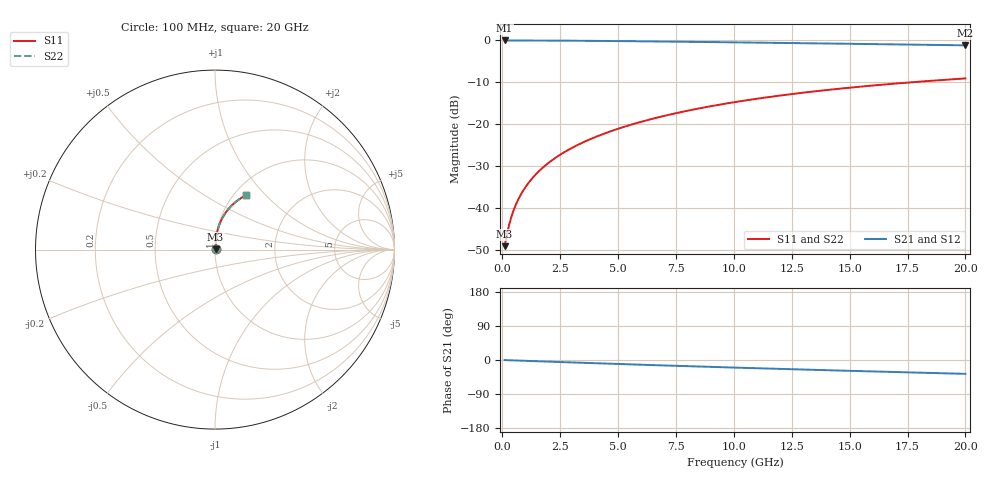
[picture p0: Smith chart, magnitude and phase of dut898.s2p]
! Touchstone file exported from HFSS 2024.1.0
!  File:  C:/UserFiles/LocalFiles/RDL_TSV_Batchsim/temp_RDL_top_898_1779857459.aedt
!  Generated:  12:53:13 PM May 27, 2026
!  Design:  RDL_top
!  Project:  temp_RDL_top_898_1779857459
!  Setup:  Setup1
!  Solution:  Sweep
! Variables:
!  dtsv = 10.80580581um
!  hbump = 3um
!  htsv = 94.28um
!  ldown = 100um
!  lrdl = 492.28um
!  p = 40
!  p1 = 50.59um
!  rhole = 1um
!  t = 450um
!  tdown = 3.915915916um
!  trdl = 3.03um
!  wdown = 15.38538539um
!  wrdl = 21.31um
# GHz S MA R 50.000000
! Terminal data exported
! Port[1] = Box2_T1
! Port[2] = Box2_T2
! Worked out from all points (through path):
!   200 points, 100 MHz to 20 GHz, reference 50 ohm
!   highest |S21| = -0.03 dB at 100 MHz (marker M1); lowest = -1.2 dB at 20 GHz (marker M2)
!   group delay of S21, straight-line fit = 5.04 ps
!   lowest |S11| = -49.2 dB at 100 MHz (marker M3), VSWR 1.01, Z = 50.3 + j0.188 ohm
!   |S11| at or under -10 dB: start of sweep to 17.72 GHz
!   |S22| runs from -49.2 to -9.1 dB; largest |S21 - S12| = 3.4e-15
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0.1  0.003468 32.6  0.9971 -0.2  0.9971 -0.2  0.003468 32.6
! Gamma 0 0 0 0
! Port Impedance 50 0 50 0
0.2  0.004775 50.6  0.9969 -0.5  0.9969 -0.5  0.004775 50.6
0.3  0.006305 59.9  0.9968 -0.7  0.9968 -0.7  0.006305 59.9
0.4  0.00789 65.4  0.9966 -0.9  0.9966 -0.9  0.00789 65.4
0.5  0.009489 69.0  0.9964 -1.1  0.9964 -1.1  0.009489 69.0
0.6  0.01109 71.6  0.9963 -1.3  0.9963 -1.3  0.01109 71.6
0.8  0.01433 75.2  0.996 -1.8  0.996 -1.8  0.01433 75.2
1.1  0.01925 78.5  0.9955 -2.4  0.9955 -2.4  0.01925 78.5
1.3  0.02257 79.9  0.9951 -2.8  0.9951 -2.8  0.02257 79.9
1.6  0.0276 81.4  0.9944 -3.5  0.9944 -3.5  0.0276 81.4
2.1  0.0361 82.8  0.9931 -4.5  0.9931 -4.5  0.0361 82.8
2.7  0.04646 83.6  0.9911 -5.8  0.9911 -5.8  0.04646 83.6
3.5  0.06056 84.0  0.9879 -7.5  0.9879 -7.5  0.06056 84.0
4.2  0.07313 83.9  0.9845 -8.9  0.9845 -8.9  0.07313 83.9
5  0.08776 83.4  0.9802 -10.5  0.9802 -10.5  0.08776 83.4
5.9  0.1045 82.6  0.9749 -12.3  0.9749 -12.3  0.1045 82.6
6.8  0.1214 81.5  0.9692 -14.0  0.9692 -14.0  0.1214 81.5
8.4  0.1518 79.3  0.9583 -17.1  0.9583 -17.1  0.1518 79.3
10.1  0.1838 76.6  0.9462 -20.2  0.9462 -20.2  0.1838 76.6
13.4  0.2441 71.1  0.9218 -25.9  0.9218 -25.9  0.2441 71.1
16.7  0.3 65.4  0.8967 -31.4  0.8967 -31.4  0.3 65.4
20  0.3507 60.0  0.8715 -36.5  0.8715 -36.5  0.3507 60.0
